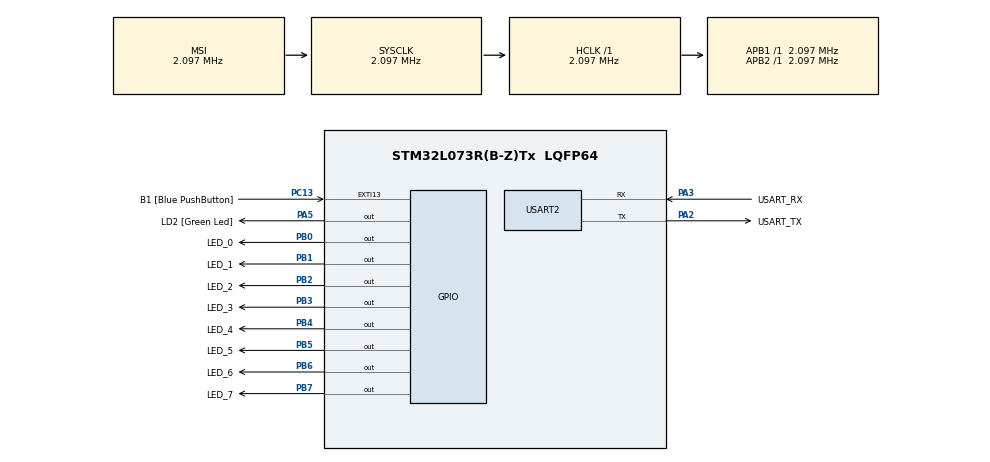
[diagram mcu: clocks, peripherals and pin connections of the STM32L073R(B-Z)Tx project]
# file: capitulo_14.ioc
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Mcu.Family=STM32L0
Mcu.Name=STM32L073R(B-Z)Tx
Mcu.Package=LQFP64
PA13.GPIO_Label=TMS
PA13.Mode=Serial_Wire
PA13.Signal=SYS_SWDIO
PA14.GPIO_Label=TCK
PA14.Mode=Serial_Wire
PA14.Signal=SYS_SWCLK
PA2.GPIO_Label=USART_TX
PA2.Mode=Asynchronous
PA2.Signal=USART2_TX
PA3.GPIO_Label=USART_RX
PA3.Mode=Asynchronous
PA3.Signal=USART2_RX
PA5.GPIO_Label=LD2 [Green Led]
PA5.Signal=GPIO_Output
PB0.GPIO_Label=LED_0
PB0.Signal=GPIO_Output
PB1.GPIO_Label=LED_1
PB1.Signal=GPIO_Output
PB2.GPIO_Label=LED_2
PB2.Signal=GPIO_Output
PB3.GPIO_Label=LED_3
PB3.Signal=GPIO_Output
PB4.GPIO_Label=LED_4
PB4.Signal=GPIO_Output
PB5.GPIO_Label=LED_5
PB5.Signal=GPIO_Output
PB6.GPIO_Label=LED_6
PB6.Signal=GPIO_Output
PB7.GPIO_Label=LED_7
PB7.Signal=GPIO_Output
PC13.GPIO_Label=B1 [Blue PushButton]
PC13.GPIO_ModeDefaultEXTI=GPIO_MODE_IT_FALLING
PC13.Signal=GPXTI13
PC14-OSC32_IN.Mode=LSE-External-Oscillator
PC14-OSC32_IN.Signal=RCC_OSC32_IN
PC15-OSC32_OUT.Mode=LSE-External-Oscillator
PC15-OSC32_OUT.Signal=RCC_OSC32_OUT
ProjectManager.HeapSize=0x200
ProjectManager.StackSize=0x400
ProjectManager.TargetToolchain=STM32CubeIDE
RCC.AHBFreq_Value=2097000
RCC.APB1Freq_Value=2097000
RCC.APB1TimFreq_Value=2097000
RCC.APB2Freq_Value=2097000
RCC.APB2TimFreq_Value=2097000
RCC.HSE_VALUE=8000000
RCC.HSI16_VALUE=16000000
RCC.HSI48_VALUE=48000000
RCC.HSI_VALUE=16000000
RCC.MSI_VALUE=2097000
RCC.SYSCLKFreq_VALUE=2097000
RCC.VCOOutputFreq_Value=48000000
USART2.VirtualMode-Asynchronous=VM_ASYNC
board=NUCLEO-L073RZ

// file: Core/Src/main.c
/* USER CODE BEGIN Header */
/**
  ******************************************************************************
  * @file           : main.c
  * @brief          : Main program body
  ******************************************************************************
  * @attention
  *
  * <h2><center>&copy; Copyright (c) 2020 STMicroelectronics.
  * All rights reserved.</center></h2>
  *
  * This software component is licensed by ST under BSD 3-Clause license,
  * the "License"; You may not use this file except in compliance with the
  * License. You may obtain a copy of the License at:
  *                        opensource.org/licenses/BSD-3-Clause
  *
  ******************************************************************************
  */
/* USER CODE END Header */

#include "main.h"
#include "usart.h"
#include "gpio.h"

/* USER CODE BEGIN Includes */
#include "BarramentoLeds.h"
/* USER CODE END Includes */

/* USER CODE BEGIN PD */
#define ACIONAMENTO_PADRAO
/* USER CODE END PD */

void SystemClock_Config(void);

int main(void)
{
  /* USER CODE BEGIN 1 */
  uint8_t ledsLiga = 0x22; //Varíavel com o valor dos leds a serem acionados.
  uint8_t ledsLer = 0;	   //Variável para receber o estado atual dos leds.
  uint8_t ledsDesliga = 0; //Variável com o valor dos leds a serem desligados.
  /* USER CODE END 1 */

  /* MCU Configuration--------------------------------------------------------*/

  /* Reset of all peripherals, Initializes the Flash interface and the Systick. */
  HAL_Init();

  /* Configure the system clock */
  SystemClock_Config();

  /* Initialize all configured peripherals */
  MX_GPIO_Init();
  MX_USART2_UART_Init();

  /* Infinite loop */
  while (1)
  {

    /* USER CODE BEGIN 3 */
#ifdef ACIONAMENTO_PADRAO
	/*Acionamento dos leds*/
	controleLED(ledsLiga, LIGAR);
	ledsDesliga = ledsLiga;

	/*Delay para visualização*/
	HAL_Delay(1000);

	/*Leitura do estado dos leds*/
	ledsLer = controleLED(0, LER_ESTADO);
	ledsLiga = (ledsLer << 2) & 0xff;

	/*Desacionamento dos leds*/
	controleLED(ledsDesliga, LIGAR);

	/*Delay para visualização*/
	HAL_Delay(1000);
#else
	/*Acionamento sequencial dos leds*/
	sequencial();
#endif
  }
  /* USER CODE END 3 */
}

void SystemClock_Config(void)
{
  RCC_OscInitTypeDef RCC_OscInitStruct = {0};
  RCC_ClkInitTypeDef RCC_ClkInitStruct = {0};
  RCC_PeriphCLKInitTypeDef PeriphClkInit = {0};

  /** Configure the main internal regulator output voltage
  */
  __HAL_PWR_VOLTAGESCALING_CONFIG(PWR_REGULATOR_VOLTAGE_SCALE1);
  /** Initializes the CPU, AHB and APB busses clocks
  */
  RCC_OscInitStruct.OscillatorType = RCC_OSCILLATORTYPE_MSI;
  RCC_OscInitStruct.MSIState = RCC_MSI_ON;
  RCC_OscInitStruct.MSICalibrationValue = 0;
  RCC_OscInitStruct.MSIClockRange = RCC_MSIRANGE_5;
  RCC_OscInitStruct.PLL.PLLState = RCC_PLL_NONE;
  if (HAL_RCC_OscConfig(&RCC_OscInitStruct) != HAL_OK)
  {
    Error_Handler();
  }
  /** Initializes the CPU, AHB and APB busses clocks
  */
  RCC_ClkInitStruct.ClockType = RCC_CLOCKTYPE_HCLK|RCC_CLOCKTYPE_SYSCLK
                              |RCC_CLOCKTYPE_PCLK1|RCC_CLOCKTYPE_PCLK2;
  RCC_ClkInitStruct.SYSCLKSource = RCC_SYSCLKSOURCE_MSI;
  RCC_ClkInitStruct.AHBCLKDivider = RCC_SYSCLK_DIV1;
  RCC_ClkInitStruct.APB1CLKDivider = RCC_HCLK_DIV1;
  RCC_ClkInitStruct.APB2CLKDivider = RCC_HCLK_DIV1;

  if (HAL_RCC_ClockConfig(&RCC_ClkInitStruct, FLASH_LATENCY_0) != HAL_OK)
  {
    Error_Handler();
  }
  PeriphClkInit.PeriphClockSelection = RCC_PERIPHCLK_USART2;
  PeriphClkInit.Usart2ClockSelection = RCC_USART2CLKSOURCE_PCLK1;
  if (HAL_RCCEx_PeriphCLKConfig(&PeriphClkInit) != HAL_OK)
  {
    Error_Handler();
  }
}

void Error_Handler(void)
{
}

/************************ (C) COPYRIGHT STMicroelectronics *****END OF FILE****/
